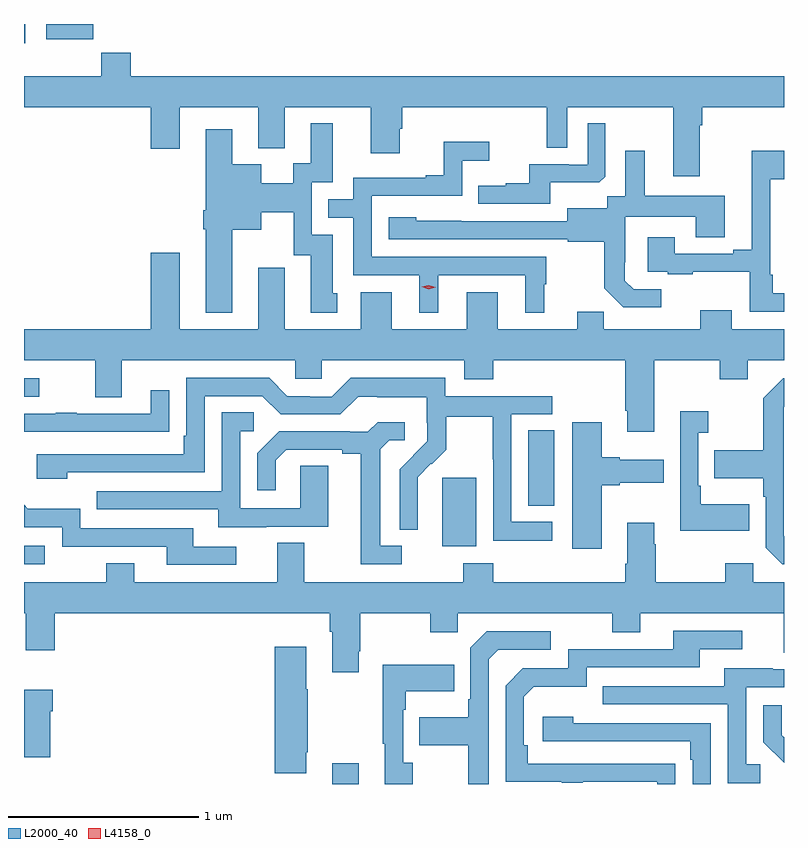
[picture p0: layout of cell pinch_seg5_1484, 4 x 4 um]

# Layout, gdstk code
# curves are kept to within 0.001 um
import gdstk
lib = gdstk.Library(unit=1e-6, precision=1e-09)
def R(c, l, rs):  # rectangles x0, y0, x1, y1
    for r in rs: c.add(gdstk.rectangle(r[:2], r[2:], *l))
def P(c, l, *ps):  # polygons
    for p in ps: c.add(gdstk.Polygon(p, *l))
L2000_40 = (2000, 40)
L4158_0 = (4158, 0)

pinch_seg5_1484 = lib.new_cell('pinch_seg5_1484')
R(pinch_seg5_1484, L2000_40, [(265.775,847.87,265.915,847.978), (264.153,849.027,264.262,849.123), (266.354,849.122,266.533,849.483), (266.807,849.334,266.944,849.731), (264.153,849.909,264.232,850.005), (264.153,851.768,264.16,851.87), (264.269,851.79,264.518,851.87)])
P(pinch_seg5_1484, L2000_40, [(267.709,851.336),(267.722,851.336),(267.722,851.432),(268.153,851.432),(268.153,851.596),(264.716,851.596),(264.716,851.72),(264.559,851.72),(264.559,851.596),(264.153,851.596),(264.153,851.432),(264.821,851.432),(264.821,851.214),(264.973,851.214),(264.973,851.432),(265.385,851.432),(265.385,851.216),(265.525,851.216),(265.525,851.432),(265.979,851.432),(265.979,851.19),(266.131,851.19),(266.131,851.319),(266.144,851.319),(266.144,851.432),(266.904,851.432),(266.904,851.218),(267.012,851.218),(267.012,851.432),(267.569,851.432),(267.569,851.07),(267.709,851.07)],
  [(266.923,851.036),(267.181,851.036),(267.213,851.067),(267.213,851.347),(267.12,851.347),(267.12,851.13),(267.02,851.13),(267.02,851.133),(266.813,851.133),(266.813,851.032),(266.689,851.032),(266.689,851.02),(266.545,851.02),(266.545,850.923),(266.923,850.923)],
  [(265.249,850.787),(265.402,850.787),(265.402,850.88),(265.572,850.88),(265.572,850.653),(265.661,850.653),(265.661,850.35),(265.801,850.35),(265.801,850.452),(265.777,850.452),(265.777,850.761),(265.668,850.761),(265.668,851.037),(265.777,851.037),(265.777,851.347),(265.661,851.347),(265.661,851.138),(265.571,851.138),(265.571,851.032),(265.402,851.032),(265.402,851.131),(265.249,851.131),(265.249,851.317),(265.109,851.317),(265.109,850.891),(265.097,850.891),(265.097,850.791),(265.109,850.791),(265.109,850.349),(265.249,850.349)],
  [(266.332,850.548),(266.792,850.548),(266.792,850.349),(266.89,850.349),(266.89,850.5),(266.902,850.5),(266.902,850.644),(265.983,850.644),(265.983,850.965),(266.46,850.965),(266.46,851.15),(266.602,851.15),(266.602,851.249),(266.362,851.249),(266.362,851.074),(266.267,851.074),(266.267,851.061),(265.887,851.061),(265.887,850.947),(265.753,850.947),(265.753,850.851),(265.887,850.851),(265.887,850.548),(266.234,850.548),(266.234,850.349),(266.332,850.349)],
  [(267.508,850.473),(267.363,850.473),(267.316,850.52),(267.316,850.615),(267.318,850.615),(267.318,850.856),(267.689,850.856),(267.689,850.747),(267.841,850.747),(267.841,850.966),(267.421,850.966),(267.421,851.203),(267.317,851.203),(267.317,850.964),(267.222,850.964),(267.222,850.9),(267.011,850.9),(267.011,850.833),(266.217,850.834),(266.217,850.852),(266.073,850.852),(266.073,850.737),(267.015,850.737),(267.015,850.725),(267.207,850.725),(267.207,850.479),(267.307,850.379),(267.508,850.379)],
  [(268.153,850.453),(268.093,850.453),(268.093,850.549),(268.08,850.549),(268.08,851.054),(268.153,851.054),(268.153,851.203),(267.983,851.203),(267.983,850.681),(267.887,850.681),(267.887,850.662),(267.577,850.662),(267.577,850.747),(267.437,850.747),(267.437,850.566),(267.541,850.566),(267.541,850.554),(267.673,850.554),(267.673,850.565),(267.972,850.565),(267.972,850.356),(268.153,850.356)],
  [(265.525,850.588),(265.385,850.588),(265.385,850.264),(264.973,850.264),(264.973,850.666),(264.821,850.666),(264.821,850.264),(264.153,850.264),(264.153,850.1),(264.527,850.1),(264.527,849.906),(264.667,849.906),(264.667,850.1),(265.581,850.1),(265.581,850.002),(265.719,850.002),(265.719,850.1),(266.471,850.1),(266.471,850.001),(266.624,850.001),(266.624,850.1),(267.317,850.1),(267.317,849.835),(267.329,849.835),(267.329,849.723),(267.469,849.723),(267.469,850.1),(267.814,850.1),(267.814,850.001),(267.961,850.001),(267.961,850.1),(268.153,850.1),(268.153,850.264),(267.877,850.264),(267.877,850.363),(267.713,850.363),(267.713,850.264),(267.203,850.264),(267.203,850.355),(267.065,850.355),(267.065,850.264),(266.647,850.264),(266.647,850.459),(266.483,850.459),(266.483,850.264),(266.089,850.264),(266.089,850.459),(265.925,850.459),(265.925,850.264),(265.525,850.264)],
  [(266.932,849.249),(266.718,849.249),(266.718,849.816),(266.932,849.816),(266.932,849.912),(266.37,849.912),(266.37,850.009),(265.873,850.009),(265.773,849.909),(265.658,849.909),(265.658,849.912),(265.539,849.912),(265.443,850.008),(265.008,850.008),(265.008,849.703),(264.995,849.703),(264.995,849.606),(264.219,849.606),(264.219,849.476),(264.38,849.476),(264.38,849.51),(265.104,849.51),(265.104,849.912),(265.407,849.912),(265.503,849.816),(265.818,849.816),(265.911,849.909),(266.011,849.909),(266.011,849.905),(266.274,849.905),(266.274,849.771),(266.276,849.771),(266.276,849.674),(266.13,849.526),(266.13,849.208),(266.226,849.208),(266.225,849.485),(266.295,849.555),(266.298,849.552),(266.375,849.629),(266.375,849.804),(266.62,849.804),(266.62,849.58),(266.622,849.58),(266.622,849.151),(266.932,849.151)],
  [(268.153,849.173),(268.153,850.005),(268.149,850.005),(268.044,849.899),(268.044,849.627),(267.787,849.627),(267.787,849.479),(268.044,849.479),(268.044,849.383),(268.056,849.383),(268.056,849.114),(268.143,849.027),(268.153,849.027)],
  [(264.815,849.724),(264.917,849.724),(264.917,849.943),(264.821,849.943),(264.821,849.819),(264.431,849.819),(264.431,849.824),(264.319,849.824),(264.319,849.819),(264.153,849.819),(264.153,849.723),(264.815,849.723)],
  [(267.971,849.343),(267.715,849.343),(267.715,849.439),(267.702,849.439),(267.702,849.719),(267.754,849.719),(267.754,849.832),(267.606,849.832),(267.606,849.203),(267.971,849.203)],
  [(265.429,849.225),(265.753,849.225),(265.753,849.545),(265.608,849.545),(265.608,849.321),(265.29,849.321),(265.29,849.726),(265.363,849.726),(265.363,849.827),(265.194,849.827),(265.194,849.411),(264.535,849.411),(264.535,849.315),(265.175,849.315),(265.175,849.221),(265.429,849.221)],
  [(267.193,849.443),(267.289,849.443),(267.289,849.455),(267.52,849.455),(267.52,849.577),(267.289,849.577),(267.289,849.59),(267.193,849.59),(267.193,849.775),(267.038,849.775),(267.038,849.108),(267.193,849.108)],
  [(266.14,849.123),(266.029,849.123),(266.029,849.631),(266.076,849.678),(266.158,849.678),(266.158,849.775),(266.014,849.775),(265.962,849.723),(265.868,849.723),(265.868,849.726),(265.496,849.726),(265.38,849.61),(265.38,849.417),(265.477,849.417),(265.477,849.573),(265.534,849.63),(265.829,849.63),(265.829,849.608),(265.925,849.608),(265.925,849.027),(266.14,849.027)],
  [(265.27,849.12),(265.045,849.12),(265.045,849.216),(264.45,849.216),(264.45,849.319),(264.173,849.319),(264.153,849.339),(264.153,849.222),(264.354,849.222),(264.354,849.12),(264.905,849.12),(264.905,849.024),(265.27,849.024)],
  [(265.915,848.569),(265.923,848.569),(265.923,848.768),(266.29,848.768),(266.29,848.669),(266.436,848.669),(266.436,848.768),(267.25,848.768),(267.25,848.669),(267.397,848.669),(267.397,848.768),(268.151,848.768),(268.151,848.56),(268.153,848.56),(268.153,848.932),(267.99,848.932),(267.99,849.031),(267.844,849.031),(267.844,848.932),(267.477,848.932),(267.477,849.131),(267.469,849.131),(267.469,849.244),(267.329,849.244),(267.329,849.028),(267.317,849.028),(267.317,848.932),(266.624,848.932),(266.624,849.031),(266.464,849.031),(266.464,848.932),(265.627,848.932),(265.627,849.14),(265.487,849.14),(265.487,848.932),(264.733,848.932),(264.733,849.031),(264.586,849.031),(264.586,848.932),(264.153,848.932),(264.153,848.768),(264.161,848.768),(264.161,848.574),(264.314,848.574),(264.314,848.768),(265.763,848.768),(265.763,848.672),(265.775,848.672),(265.775,848.457),(265.915,848.457)],
  [(267.581,847.976),(266.804,847.977),(266.804,848.074),(266.784,848.074),(266.784,848.328),(266.837,848.381),(267.114,848.381),(267.114,848.484),(267.709,848.484),(267.709,848.58),(267.934,848.58),(267.934,848.676),(267.569,848.676),(267.569,848.58),(267.018,848.58),(267.018,848.478),(266.778,848.478),(266.688,848.388),(266.688,847.881),(266.983,847.881),(266.983,847.876),(267.095,847.876),(267.095,847.881),(267.485,847.881),(267.485,847.87),(267.581,847.87)],
  [(266.598,848.526),(266.649,848.577),(266.926,848.577),(266.926,848.673),(266.589,848.673),(266.502,848.586),(266.502,848.317),(266.49,848.317),(266.49,848.221),(266.233,848.221),(266.233,848.074),(266.49,848.074),(266.49,847.87),(266.598,847.87)],
  [(265.639,848.038),(265.647,848.038),(265.647,848.369),(265.639,848.369),(265.639,848.593),(265.472,848.593),(265.472,847.926),(265.639,847.926)],
  [(266.2,847.982),(266.148,847.982),(266.148,848.261),(266.161,848.261),(266.161,848.357),(266.417,848.357),(266.417,848.497),(266.04,848.497),(266.04,848.081),(266.051,848.081),(266.051,847.87),(266.2,847.87)],
  [(268.027,847.974),(267.954,847.974),(267.954,848.379),(268.153,848.379),(268.153,848.475),(268.093,848.475),(268.093,848.479),(267.839,848.479),(267.839,848.385),(267.199,848.385),(267.199,848.289),(267.858,848.289),(267.858,847.873),(268.027,847.873)],
  [(264.292,848.252),(264.305,848.252),(264.305,848.365),(264.153,848.365),(264.153,848.012),(264.292,848.012)],
  [(268.153,848.115),(268.141,848.127),(268.141,848.284),(268.044,848.284),(268.044,848.09),(268.153,847.981)],
  [(267.768,848.19),(267.044,848.19),(267.044,848.224),(266.883,848.224),(266.883,848.094),(267.659,848.094),(267.659,847.997),(267.672,847.997),(267.672,847.87),(267.768,847.87)])
P(pinch_seg5_1484, L4158_0, [(266.283,850.475),(266.247,850.486),(266.247,850.486),(266.247,850.486),(266.283,850.495),(266.319,850.485),(266.319,850.484),(266.319,850.484)])

lib.write_gds('pinch_seg5_1484.gds')
